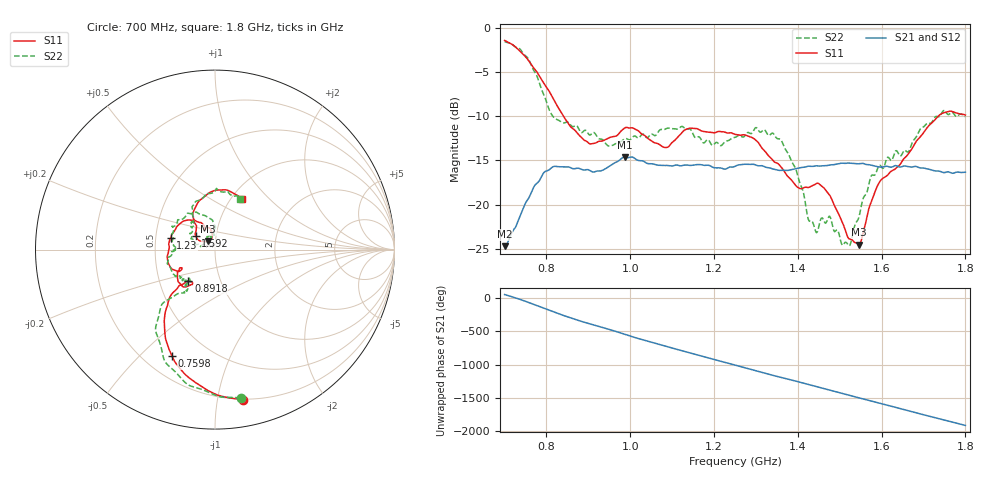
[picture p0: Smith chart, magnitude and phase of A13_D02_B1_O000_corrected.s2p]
! Created with skrf 1.9.0 (http://scikit-rf.org).
# Hz S RI R 50.0
!freq ReS11 ImS11 ReS21 ImS21 ReS12 ImS12 ReS22 ImS22
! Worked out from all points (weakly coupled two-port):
!   1601 points, 700 MHz to 1.8 GHz, reference 50 ohm
!   highest |S21| = -14.60 dB at 986.7 MHz (marker M1); lowest = -24.7 dB at 700 MHz (marker M2)
!   lowest |S11| = -24.5 dB at 1.546 GHz (marker M3), VSWR 1.13, Z = 46.2 + j4.22 ohm
!   |S11| at or under -10 dB: 840.7 MHz to 1.735 GHz (893.9 MHz wide, 69.4 % of centre)
!   |S22| runs from -24.7 to -1.5 dB; largest |S21 - S12| = 0.0034
!   S11 on the Smith chart (normalised r, x): 700 MHz: 0.20, -1.19; 759.8 MHz: 0.31, -0.63; 891.8 MHz: 0.70, -0.26; 1.23 GHz: 0.60, +0.08; 1.592 GHz: 0.80, +0.12; 1.8 GHz: 1.12, +0.71
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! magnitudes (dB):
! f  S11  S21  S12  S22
! 700 MHz  -1.4  -24.7  -24.5  -1.5
! 759.8 MHz  -3.9  -19.1  -18.9  -3.8
! 814.1 MHz  -7.8  -15.7  -15.8  -9.9
! 883.6 MHz  -12.4  -16.0  -15.9  -11.8
! 891.8 MHz  -12.7  -16.1  -16.1  -11.6
! 949.6 MHz  -12.4  -15.7  -15.7  -13.4
! 986.7 MHz  -11.3  -14.6  -14.7  -12.5
! 1.067 GHz  -13.1  -15.5  -15.5  -11.7
! 1.141 GHz  -11.4  -15.6  -15.5  -11.4
! 1.23 GHz  -11.9  -15.9  -15.8  -12.8
! 1.25 GHz  -12.0  -15.7  -15.6  -12.4
! 1.3 GHz  -12.7  -15.5  -15.5  -11.3
! 1.359 GHz  -15.7  -16.1  -16.1  -12.6
! 1.395 GHz  -17.8  -15.9  -15.9  -16.0
! 1.434 GHz  -17.9  -15.7  -15.6  -21.9
! 1.473 GHz  -18.8  -15.5  -15.5  -21.4
! 1.522 GHz  -23.9  -15.3  -15.3  -24.6
! 1.546 GHz  -24.5  -15.4  -15.3  -21.3
! 1.592 GHz  -17.7  -15.7  -15.7  -15.7
! 1.617 GHz  -16.5  -15.7  -15.7  -14.7
! 1.738 GHz  -9.9  -16.2  -16.3  -10.0
! 1.8 GHz  -9.9  -16.3  -16.3  -10.0
